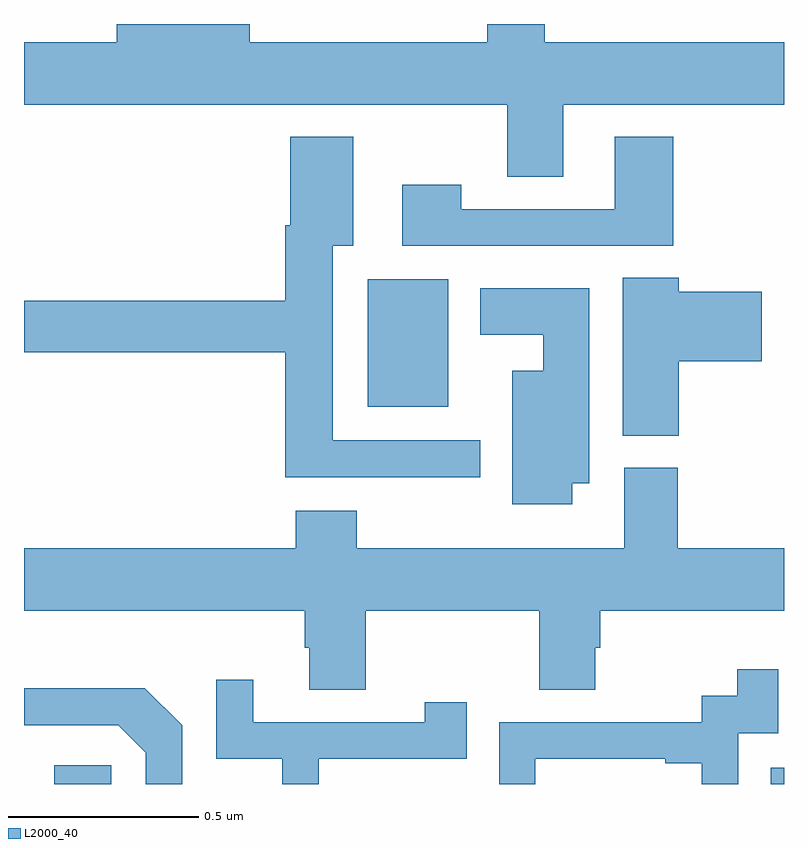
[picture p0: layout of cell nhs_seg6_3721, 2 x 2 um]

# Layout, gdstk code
import gdstk
lib = gdstk.Library(unit=1e-6, precision=1e-09)
def R(c, l, rs):  # rectangles x0, y0, x1, y1
    for r in rs: c.add(gdstk.rectangle(r[:2], r[2:], *l))
def P(c, l, *ps):  # polygons
    for p in ps: c.add(gdstk.Polygon(p, *l))
L2000_40 = (2000, 40)

nhs_seg6_3721 = lib.new_cell('nhs_seg6_3721')
R(nhs_seg6_3721, L2000_40, [(160.08,993.5,160.23,993.55), (161.965,993.5,162,993.543), (160.904,994.493,161.116,994.828)])
P(nhs_seg6_3721, L2000_40, [(161.419,995.288),(162,995.288),(162,995.452),(161.371,995.452),(161.371,995.5),(161.219,995.5),(161.219,995.452),(160.594,995.452),(160.594,995.5),(160.244,995.5),(160.244,995.452),(160,995.452),(160,995.288),(161.272,995.288),(161.272,995.098),(161.419,995.098)],
  [(161.708,995.203),(161.555,995.203),(161.555,995.013),(161.151,995.013),(161.151,995.077),(160.995,995.077),(160.995,994.917),(161.708,994.917)],
  [(161.2,994.404),(160.813,994.404),(160.813,994.916),(160.867,994.916),(160.867,995.203),(160.7,995.203),(160.7,994.97),(160.688,994.97),(160.688,994.772),(160,994.772),(160,994.636),(160.688,994.636),(160.688,994.307),(161.2,994.307)],
  [(161.723,994.613),(161.941,994.613),(161.941,994.796),(161.723,994.796),(161.723,994.832),(161.576,994.832),(161.576,994.417),(161.723,994.417)],
  [(161.443,994.292),(161.488,994.292),(161.488,994.804),(161.201,994.804),(161.201,994.682),(161.366,994.682),(161.366,994.588),(161.285,994.588),(161.285,994.236),(161.443,994.236)],
  [(160.899,993.956),(161.356,993.956),(161.356,993.748),(161.503,993.748),(161.503,993.858),(161.516,993.858),(161.516,993.956),(162,993.956),(162,994.12),(161.72,994.12),(161.72,994.332),(161.579,994.332),(161.579,994.12),(160.875,994.12),(160.875,994.219),(160.715,994.219),(160.715,994.12),(160,994.12),(160,993.956),(160.739,993.956),(160.739,993.858),(160.751,993.858),(160.751,993.748),(160.899,993.748)],
  [(161.346,993.567),(161.687,993.567),(161.687,993.555),(161.783,993.555),(161.783,993.5),(161.88,993.5),(161.88,993.633),(161.985,993.633),(161.985,993.802),(161.877,993.802),(161.877,993.732),(161.784,993.732),(161.784,993.663),(161.25,993.663),(161.25,993.5),(161.346,993.5)],
  [(160.776,993.567),(161.165,993.567),(161.165,993.715),(161.054,993.715),(161.054,993.663),(160.603,993.663),(160.603,993.775),(160.506,993.775),(160.506,993.567),(160.68,993.567),(160.68,993.5),(160.776,993.5)],
  [(160.416,993.654),(160.318,993.752),(160,993.752),(160,993.654),(160.248,993.654),(160.32,993.582),(160.32,993.5),(160.416,993.5)])

lib.write_gds('nhs_seg6_3721.gds')
